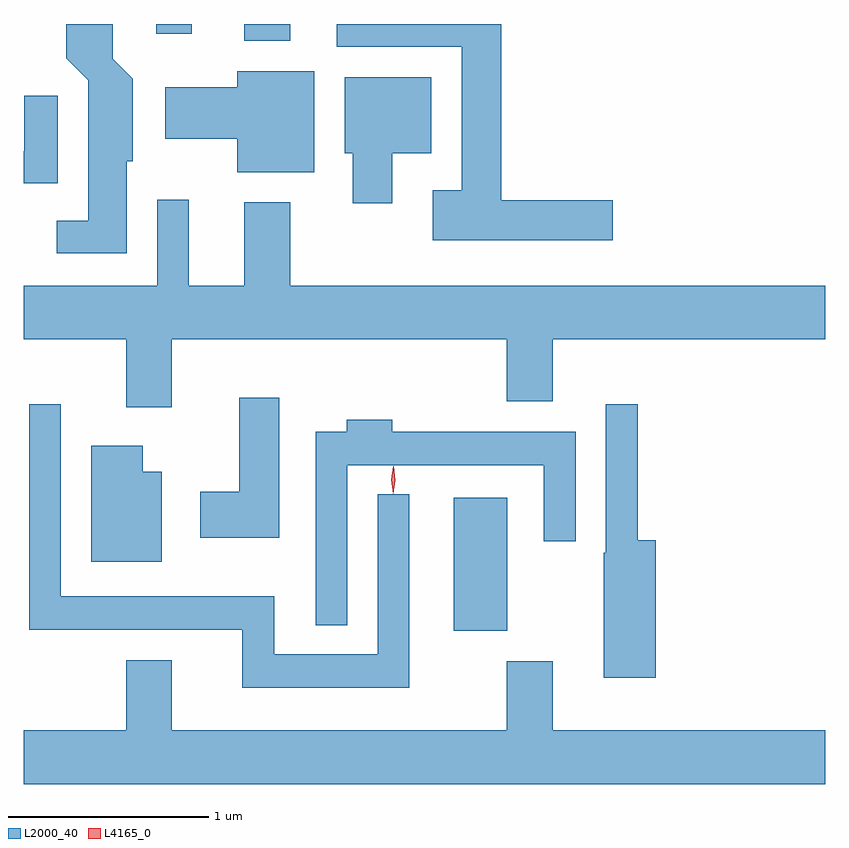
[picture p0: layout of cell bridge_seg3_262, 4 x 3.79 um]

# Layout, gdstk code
import gdstk
lib = gdstk.Library(unit=1e-6, precision=1e-09)
def R(c, l, rs):  # rectangles x0, y0, x1, y1
    for r in rs: c.add(gdstk.rectangle(r[:2], r[2:], *l))
def P(c, l, *ps):  # polygons
    for p in ps: c.add(gdstk.Polygon(p, *l))
L2000_40 = (2000, 40)
L4165_0 = (4165, 0)

bridge_seg3_262 = lib.new_cell('bridge_seg3_262')
R(bridge_seg3_262, L2000_40, [(1026.296,1129.001,1026.564,1129.664), (1025.251,1131.946,1025.479,1132.03), (1024.811,1131.981,1024.989,1132.03)])
P(bridge_seg3_262, L2000_40, [(1024.664,1131.346),(1024.694,1131.346),(1024.694,1131.757),(1024.594,1131.857),(1024.594,1132.03),(1024.361,1132.03),(1024.361,1131.859),(1024.471,1131.749),(1024.471,1131.049),(1024.313,1131.049),(1024.313,1130.886),(1024.664,1130.886)],
  [(1027.089,1131.149),(1026.534,1131.149),(1026.534,1132.03),(1025.711,1132.03),(1025.711,1131.916),(1026.336,1131.916),(1026.336,1131.199),(1026.191,1131.199),(1026.191,1130.951),(1027.089,1130.951)],
  [(1025.599,1131.794),(1025.216,1131.794),(1025.216,1131.714),(1024.856,1131.714),(1024.856,1131.456),(1025.216,1131.456),(1025.216,1131.291),(1025.599,1131.291)],
  [(1025.989,1131.386),(1026.184,1131.386),(1026.184,1131.764),(1025.751,1131.764),(1025.751,1131.386),(1025.791,1131.386),(1025.791,1131.136),(1025.989,1131.136)],
  [(1024.319,1131.673),(1024.151,1131.673),(1024.151,1131.394),(1024.15,1131.394),(1024.15,1131.236),(1024.319,1131.236)],
  [(1024.889,1130.456),(1026.561,1130.456),(1026.561,1130.146),(1026.789,1130.146),(1026.789,1130.456),(1028.15,1130.456),(1028.15,1130.724),(1025.479,1130.724),(1025.479,1131.139),(1025.251,1131.139),(1025.251,1130.724),(1024.974,1130.724),(1024.974,1131.153),(1024.816,1131.153),(1024.816,1130.724),(1024.15,1130.724),(1024.15,1130.456),(1024.661,1130.456),(1024.661,1130.116),(1024.889,1130.116)],
  [(1025.424,1130.164),(1025.226,1130.164),(1025.226,1129.694),(1025.031,1129.694),(1025.031,1129.466),(1025.424,1129.466)],
  [(1027.304,1129.454),(1027.214,1129.454),(1027.214,1130.133),(1027.056,1130.133),(1027.056,1129.39),(1027.046,1129.39),(1027.046,1128.766),(1027.304,1128.766)],
  [(1026.074,1129.683),(1025.916,1129.683),(1025.916,1128.884),(1025.399,1128.884),(1025.399,1129.174),(1024.334,1129.174),(1024.334,1130.133),(1024.176,1130.133),(1024.176,1129.006),(1025.241,1129.006),(1025.241,1128.716),(1026.074,1128.716)],
  [(1025.764,1129.826),(1026.746,1129.826),(1026.746,1129.448),(1026.904,1129.448),(1026.904,1129.994),(1025.989,1129.994),(1025.989,1130.054),(1025.761,1130.054),(1025.761,1129.994),(1025.606,1129.994),(1025.606,1129.028),(1025.764,1129.028)],
  [(1024.839,1129.794),(1024.744,1129.794),(1024.744,1129.924),(1024.486,1129.924),(1024.486,1129.346),(1024.839,1129.346)],
  [(1028.15,1128.504),(1026.789,1128.504),(1026.789,1128.849),(1026.561,1128.849),(1026.561,1128.504),(1024.889,1128.504),(1024.889,1128.854),(1024.661,1128.854),(1024.661,1128.504),(1024.15,1128.504),(1024.15,1128.236),(1028.15,1128.236)])
P(bridge_seg3_262, L4165_0, [(1025.994,1129.684),(1025.985,1129.754),(1025.995,1129.822),(1025.996,1129.823),(1025.996,1129.822),(1026.005,1129.753),(1025.995,1129.684),(1025.995,1129.684)],
  [(1025.993,1129.687),(1025.984,1129.754),(1025.993,1129.82),(1025.994,1129.821),(1025.994,1129.82),(1026.004,1129.754),(1025.994,1129.687),(1025.994,1129.687)])

lib.write_gds('bridge_seg3_262.gds')
